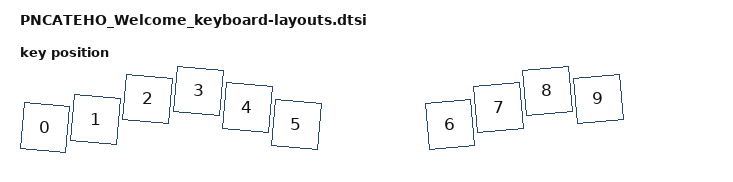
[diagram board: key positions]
/*
 * Copyright (c) 2020 The ZMK Contributors
 *
 * SPDX-License-Identifier: MIT
 */

#include <physical_layouts.dtsi>

/ {
    PNCATEHO_Welcome_keyboard_layout: PNCATEHO_Welcome_keyboard_layout_0 {
        compatible = "zmk,physical-layout";
        display-name = "PNCATEHO Welcome";
        kscan = <&kscan0>;
        transform = <&matrix_transform0>;

        keys  //                     w   h    x    y     rot    rx    ry
            = <&key_physical_attrs 100 100    0  100     500   700    50>
            , <&key_physical_attrs 100 100  100   75     500   700    50>
            , <&key_physical_attrs 100 100  200   25     500   700    50>
            , <&key_physical_attrs 100 100  300    0     500   700    50>
            , <&key_physical_attrs 100 100  400   25     500   700    50>
            , <&key_physical_attrs 100 100  500   50     500   700    50>
            , <&key_physical_attrs 100 100  800   50  (-500)   700    50>
            , <&key_physical_attrs 100 100  900   25  (-500)   700    50>
            , <&key_physical_attrs 100 100 1000    0  (-500)   700    50>
            , <&key_physical_attrs 100 100 1100   25  (-500)   700    50>
            ;
    };

    PNCATEHO_Welcome_keyboard_position_map {
        compatible = "zmk,physical-layout-position-map";
        complete;

        origin {
            physical-layout = <&mriya_layout>;
            positions
            = < 0 1 2 3   >
            , < 4 5 6 7   >
            , <       8 9 >
            ;
        };

    };
};

